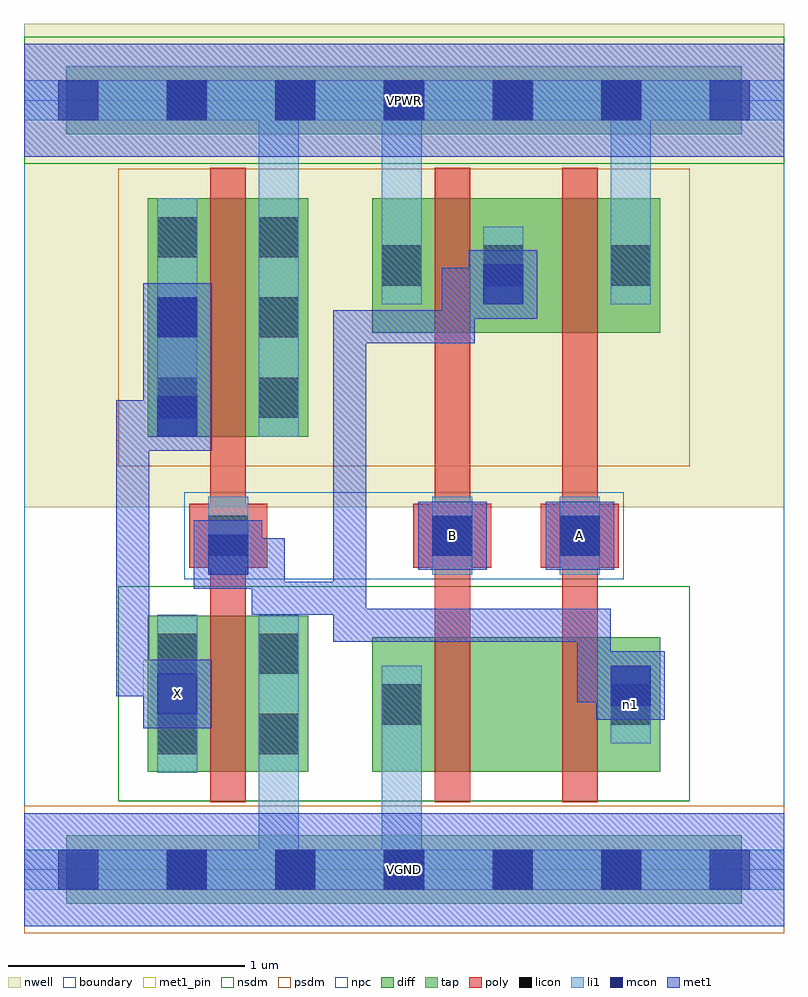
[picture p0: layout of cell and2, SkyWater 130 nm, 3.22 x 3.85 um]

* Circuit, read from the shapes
.subckt and2 A B VGND VPWR X n1
XM1 VGND n1 X VGND sky130_fd_pr__nfet_01v8 w=0.66 l=0.15
XM2 n2 B VGND VGND sky130_fd_pr__nfet_01v8 w=0.57 l=0.15
XM3 n1 A n2 VGND sky130_fd_pr__nfet_01v8 w=0.57 l=0.15
XM4 VPWR n1 X VPWR sky130_fd_pr__pfet_01v8 w=1.01 l=0.15
XM5 n1 B VPWR VPWR sky130_fd_pr__pfet_01v8 w=0.57 l=0.15
XM6 VPWR A n1 VPWR sky130_fd_pr__pfet_01v8 w=0.57 l=0.15
.ends

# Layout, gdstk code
import gdstk
lib = gdstk.Library(unit=1e-6, precision=1e-09)
def R(c, l, rs):  # rectangles x0, y0, x1, y1
    for r in rs: c.add(gdstk.rectangle(r[:2], r[2:], *l))
def A(c, l, x, y, w, h, nx, ny, dx, dy):  # array of equal rectangles
    R(c, l, [(x+i*dx, y+j*dy, x+i*dx+w, y+j*dy+h) for i in range(nx) for j in range(ny)])
nwell = (64, 20)
diff = (65, 20)
tap = (65, 44)
poly = (66, 20)
licon = (66, 44)
li1 = (67, 20)
mcon = (67, 44)
met1_pin = (68, 16)
met1 = (68, 20)
nsdm = (93, 44)
psdm = (94, 20)
npc = (95, 20)
boundary = (235, 4)

and2 = lib.new_cell('and2')
R(and2, nwell, [(0,1.535,3.22,3.585)])
R(and2, diff, [(0.525,0.415,1.205,1.075), (1.475,0.415,2.695,0.985), (0.525,1.835,1.205,2.845), (1.475,2.275,2.695,2.845)])
R(and2, tap, [(0.18,-0.145,3.04,0.145), (0.18,3.115,3.04,3.405)])
R(and2, poly, [(0.79,0.285,0.94,2.975), (1.74,0.285,1.89,2.975), (2.28,0.285,2.43,2.975), (0.7,1.28,1.03,1.55), (1.65,1.28,1.98,1.55), (2.19,1.28,2.52,1.55)])
A(and2, licon, 0.605, -0.085, 0.17, 0.17, 5, 2, 0.46, 3.26)
A(and2, licon, 0.565, 1.915, 0.17, 0.17, 1, 3, 0, 0.34)
A(and2, licon, 0.995, 1.915, 0.17, 0.17, 1, 3, 0, 0.34)
R(and2, licon, [(0.565,0.49,0.735,0.66), (0.995,0.49,1.165,0.66), (1.515,0.615,1.685,0.785), (2.485,0.615,2.655,0.785), (0.565,0.83,0.735,1), (0.995,0.83,1.165,1), (0.78,1.33,0.95,1.5), (1.73,1.33,1.9,1.5), (2.27,1.33,2.44,1.5), (1.515,2.475,1.685,2.645), (1.945,2.475,2.115,2.645), (2.485,2.475,2.655,2.645)])
R(and2, li1, [(0,-0.085,3.22,0.085), (0.995,-0.085,1.165,1.08), (1.515,-0.085,1.685,0.865), (0.565,0.41,0.735,1.08), (0.995,0.41,1.165,1.08), (1.515,0.535,1.685,0.865), (2.485,0.535,2.655,0.865), (0.78,1.25,0.95,1.58), (1.73,1.25,1.9,1.58), (2.27,1.25,2.44,1.58), (0.565,1.835,0.735,2.845), (0.995,1.835,1.165,2.845), (0.995,1.835,1.165,3.345), (1.515,2.395,1.685,2.725), (1.515,2.395,1.685,3.345), (1.945,2.395,2.115,2.725), (2.485,2.395,2.655,2.725), (2.485,2.395,2.655,3.345), (0,3.175,3.22,3.345)])
A(and2, mcon, 0.145, -0.085, 0.17, 0.17, 7, 2, 0.46, 3.26)
R(and2, mcon, [(0.565,0.66,0.735,0.83), (2.485,0.695,2.655,0.865), (0.78,1.25,0.95,1.42), (1.73,1.33,1.9,1.5), (2.27,1.33,2.44,1.5), (0.565,1.835,0.735,2.005), (0.565,2.255,0.735,2.425), (1.945,2.395,2.115,2.565)])
R(and2, met1_pin, [(0,-0.24,3.22,0.24), (0.505,0.6,0.795,0.89), (1.67,1.27,1.96,1.56), (2.21,1.27,2.5,1.56), (0,3.02,3.22,3.5)])
R(and2, met1, [(0,-0.24,3.22,0.24), (0.505,0.6,0.795,0.89), (2.425,0.635,2.715,0.925), (2.345,0.71,2.64,0.85), (2.345,0.71,2.485,0.99), (0.39,0.735,0.645,0.875), (0.39,0.735,0.53,1.795), (0.505,0.735,0.645,0.875), (2.345,0.85,2.485,1.105), (1.31,0.965,1.45,1.22), (1.31,0.965,2.485,1.105), (0.965,1.08,1.105,1.405), (0.965,1.08,1.45,1.22), (1.31,1.08,1.45,2.37), (0.72,1.19,1.01,1.48), (0.795,1.265,1.105,1.405), (1.67,1.27,1.96,1.56), (2.21,1.27,2.5,1.56), (0.39,1.655,0.53,1.99), (0.505,1.775,0.795,2.065), (0.39,1.85,0.72,1.99), (0.505,2.065,0.795,2.195), (0.505,2.195,0.795,2.485), (1.31,2.23,1.91,2.37), (1.77,2.23,1.91,2.55), (1.885,2.335,2.175,2.625), (1.77,2.41,2.1,2.55), (0,3.02,3.22,3.5)])
R(and2, nsdm, [(0.4,0.29,2.82,1.2), (0,2.99,3.22,3.53)])
R(and2, psdm, [(0,-0.27,3.22,0.27), (0.4,1.71,2.82,2.97)])
R(and2, npc, [(0.68,1.23,2.54,1.6)])
R(and2, boundary, [(0,0,3.22,3.26)])
and2.add(gdstk.Label('n1', (2.57,0.7), layer=67, texttype=5))
and2.add(gdstk.Label('A', (2.355,1.415), layer=68, texttype=5))
and2.add(gdstk.Label('B', (1.815,1.415), layer=68, texttype=5))
and2.add(gdstk.Label('X', (0.65,0.745), layer=68, texttype=5))
and2.add(gdstk.Label('VPWR', (1.61,3.26), layer=68, texttype=5))
and2.add(gdstk.Label('VGND', (1.61,0), layer=68, texttype=5))
and2.add(gdstk.Label('A', (2.355,1.415), layer=68, texttype=16))
and2.add(gdstk.Label('B', (1.815,1.415), layer=68, texttype=16))
and2.add(gdstk.Label('X', (0.65,0.745), layer=68, texttype=16))
and2.add(gdstk.Label('VPWR', (1.61,3.26), layer=68, texttype=16))
and2.add(gdstk.Label('VGND', (1.61,0), layer=68, texttype=16))

lib.write_gds('and2.gds')
